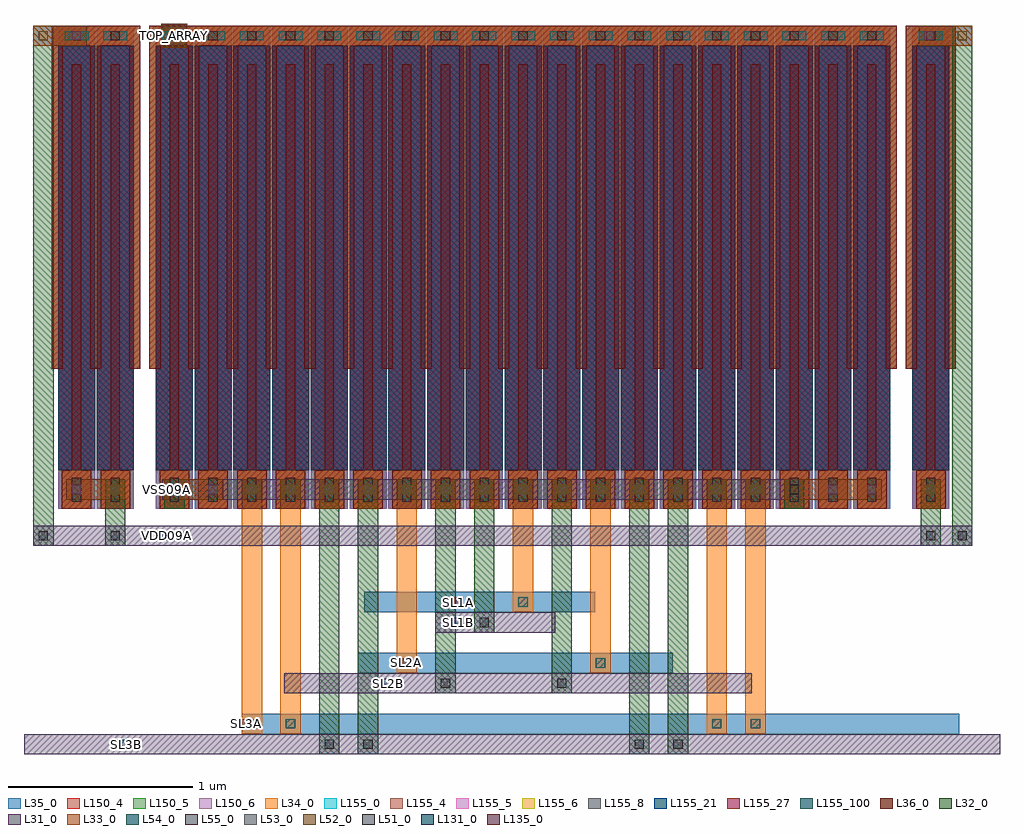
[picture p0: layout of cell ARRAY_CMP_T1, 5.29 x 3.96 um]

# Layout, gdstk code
from math import pi, radians
import gdstk
lib = gdstk.Library(unit=1e-6, precision=1e-09)
def R(c, l, rs):  # rectangles x0, y0, x1, y1
    for r in rs: c.add(gdstk.rectangle(r[:2], r[2:], *l))
def A(c, l, x, y, w, h, nx, ny, dx, dy):  # array of equal rectangles
    R(c, l, [(x+i*dx, y+j*dy, x+i*dx+w, y+j*dy+h) for i in range(nx) for j in range(ny)])
L31_0 = (31, 0)
L32_0 = (32, 0)
L33_0 = (33, 0)
L34_0 = (34, 0)
L35_0 = (35, 0)
L36_0 = (36, 0)
L51_0 = (51, 0)
L52_0 = (52, 0)
L53_0 = (53, 0)
L54_0 = (54, 0)
L55_0 = (55, 0)
L131_0 = (131, 0)
L135_0 = (135, 0)
L150_4 = (150, 4)
L150_5 = (150, 5)
L150_6 = (150, 6)
L155_0 = (155, 0)
L155_4 = (155, 4)
L155_5 = (155, 5)
L155_6 = (155, 6)
L155_8 = (155, 8)
L155_21 = (155, 21)
L155_27 = (155, 27)
L155_100 = (155, 100)

m5_m4_cdns_614674237067 = lib.new_cell('M5_M4_CDNS_614674237067')
R(m5_m4_cdns_614674237067, L34_0, [(-0.07,-0.105,0.07,0.105)])
R(m5_m4_cdns_614674237067, L35_0, [(-0.07,-0.105,0.07,0.105)])
R(m5_m4_cdns_614674237067, L54_0, [(-0.025,-0.065,0.025,0.065)])

m6_m5_cdns_614674237068 = lib.new_cell('M6_M5_CDNS_614674237068')
R(m6_m5_cdns_614674237068, L35_0, [(-0.07,-0.105,0.07,0.105)])
R(m6_m5_cdns_614674237068, L36_0, [(-0.055,-0.105,0.055,0.105)])
R(m6_m5_cdns_614674237068, L55_0, [(-0.025,-0.065,0.025,0.065)])

m5_m4_cdns_614674237069 = lib.new_cell('M5_M4_CDNS_614674237069')
R(m5_m4_cdns_614674237069, L34_0, [(-0.095,-0.055,0.095,0.055)])
R(m5_m4_cdns_614674237069, L35_0, [(-0.12,-0.055,0.12,0.055)])
R(m5_m4_cdns_614674237069, L54_0, [(-0.065,-0.025,0.065,0.025)])

m6_m5_cdns_6146742370610 = lib.new_cell('M6_M5_CDNS_6146742370610')
R(m6_m5_cdns_6146742370610, L35_0, [(-0.055,-0.055,0.055,0.055)])
R(m6_m5_cdns_6146742370610, L36_0, [(-0.055,-0.055,0.055,0.055)])
R(m6_m5_cdns_6146742370610, L55_0, [(-0.025,-0.025,0.025,0.025)])

cu1f = lib.new_cell('CU1F')
R(cu1f, L34_0, [(0.02,0,0.18,0.21), (-0.035,2.51,0.235,2.62)])
R(cu1f, L35_0, [(0.02,0,0.18,0.21), (-0.035,2.51,0.235,2.62)])
R(cu1f, L36_0, [(0.02,0,0.18,0.21), (-0.035,2.51,0.235,2.62)])
R(cu1f, L150_4, [(0,0,0.2,2.62)])
R(cu1f, L150_5, [(0,0,0.2,2.62)])
R(cu1f, L150_6, [(0,0,0.2,2.62)])
R(cu1f, L155_0, [(0,0.21,0.2,2.51)])
R(cu1f, L155_4, [(0,0.21,0.2,2.51)])
R(cu1f, L155_5, [(0,0.21,0.2,2.51)])
R(cu1f, L155_6, [(0,0.21,0.2,2.51)])
R(cu1f, L155_8, [(0,0.21,0.2,2.51)])
R(cu1f, L155_21, [(0,0.21,0.2,2.51)])
R(cu1f, L155_27, [(0,0.21,0.2,2.51)])
R(cu1f, L155_100, [(0,0.21,0.2,2.51)])
cu1f.add(gdstk.FlexPath([(0.205,2.59),(0.205,0.76)], 0.06, ends=(0.03, 0), simple_path=True, layer=34, datatype=0))  # L34_0
cu1f.add(gdstk.FlexPath([(0.1,2.41),(0.1,0)], 0.05, ends="flush", simple_path=True, layer=34, datatype=0))  # L34_0
cu1f.add(gdstk.FlexPath([(-0.005,2.59),(-0.005,0.76)], 0.06, ends=(0.03, 0), simple_path=True, layer=34, datatype=0))  # L34_0
cu1f.add(gdstk.FlexPath([(0.205,0.76),(0.205,2.59)], 0.06, ends=(0, 0.03), simple_path=True, layer=35, datatype=0))  # L35_0
cu1f.add(gdstk.FlexPath([(0.1,2.41),(0.1,0)], 0.05, ends="flush", simple_path=True, layer=35, datatype=0))  # L35_0
cu1f.add(gdstk.FlexPath([(-0.005,0.76),(-0.005,2.59)], 0.06, ends=(0, 0.03), simple_path=True, layer=35, datatype=0))  # L35_0
cu1f.add(gdstk.FlexPath([(0.205,0.76),(0.205,2.59)], 0.06, ends=(0, 0.03), simple_path=True, layer=36, datatype=0))  # L36_0
cu1f.add(gdstk.FlexPath([(0.1,2.41),(0.1,0)], 0.05, ends="flush", simple_path=True, layer=36, datatype=0))  # L36_0
cu1f.add(gdstk.FlexPath([(-0.005,0.76),(-0.005,2.59)], 0.06, ends=(0, 0.03), simple_path=True, layer=36, datatype=0))  # L36_0
cu1f.add(gdstk.Reference(m5_m4_cdns_614674237067, (0.1,0.105), rotation=pi, x_reflection=True))
cu1f.add(gdstk.Reference(m6_m5_cdns_614674237068, (0.1,0.105), rotation=pi, x_reflection=True))
cu1f.add(gdstk.Reference(m5_m4_cdns_614674237069, (0.1,2.565)))
cu1f.add(gdstk.Reference(m6_m5_cdns_6146742370610, (0.1,2.565)))

m2_m1_cdns_614674237060 = lib.new_cell('M2_M1_CDNS_614674237060')
R(m2_m1_cdns_614674237060, L31_0, [(-0.055,-0.055,0.055,0.055)])
R(m2_m1_cdns_614674237060, L32_0, [(-0.055,-0.055,0.055,0.055)])
R(m2_m1_cdns_614674237060, L51_0, [(-0.025,-0.025,0.025,0.025)])

m3_m2_cdns_614674237061 = lib.new_cell('M3_M2_CDNS_614674237061')
R(m3_m2_cdns_614674237061, L32_0, [(-0.055,-0.055,0.055,0.055)])
R(m3_m2_cdns_614674237061, L33_0, [(-0.055,-0.055,0.055,0.055)])
R(m3_m2_cdns_614674237061, L52_0, [(-0.025,-0.025,0.025,0.025)])

m4_m3_cdns_614674237062 = lib.new_cell('M4_M3_CDNS_614674237062')
R(m4_m3_cdns_614674237062, L33_0, [(-0.055,-0.055,0.055,0.055)])
R(m4_m3_cdns_614674237062, L34_0, [(-0.055,-0.055,0.055,0.055)])
R(m4_m3_cdns_614674237062, L53_0, [(-0.025,-0.025,0.025,0.025)])

m4_m3_cdns_614674237063 = lib.new_cell('M4_M3_CDNS_614674237063')
R(m4_m3_cdns_614674237063, L33_0, [(-0.07,-0.065,0.07,0.065)])
R(m4_m3_cdns_614674237063, L34_0, [(-0.055,-0.055,0.055,0.055)])
R(m4_m3_cdns_614674237063, L53_0, [(-0.025,-0.025,0.025,0.025)])

m3_m2_cdns_614674237064 = lib.new_cell('M3_M2_CDNS_614674237064')
R(m3_m2_cdns_614674237064, L32_0, [(-0.065,-0.06,0.065,0.06)])
R(m3_m2_cdns_614674237064, L33_0, [(-0.07,-0.065,0.07,0.065)])
R(m3_m2_cdns_614674237064, L52_0, [(-0.025,-0.025,0.025,0.025)])

m2_m1_cdns_614674237065 = lib.new_cell('M2_M1_CDNS_614674237065')
R(m2_m1_cdns_614674237065, L31_0, [(-0.055,-0.055,0.055,0.055)])
R(m2_m1_cdns_614674237065, L32_0, [(-0.065,-0.06,0.065,0.06)])
R(m2_m1_cdns_614674237065, L51_0, [(-0.025,-0.025,0.025,0.025)])

m5_m4_cdns_614674237066 = lib.new_cell('M5_M4_CDNS_614674237066')
R(m5_m4_cdns_614674237066, L34_0, [(-0.055,-0.055,0.055,0.055)])
R(m5_m4_cdns_614674237066, L35_0, [(-0.055,-0.055,0.055,0.055)])
R(m5_m4_cdns_614674237066, L54_0, [(-0.025,-0.025,0.025,0.025)])

array_cmp_t1 = lib.new_cell('ARRAY_CMP_T1')
R(array_cmp_t1, L31_0, [(-0.185,-1.33,5.105,-1.22), (1.225,-1,3.76,-0.89), (2.045,-0.67,2.695,-0.56), (-0.135,-0.2,4.955,-0.09), (0.565,0.05,4.045,0.16), (0.56,2.5,0.7,2.63)])
R(array_cmp_t1, L32_0, [(1.415,-1.33,1.525,0.16), (1.625,-1.33,1.735,0.16), (3.095,-1.33,3.205,0.16), (3.305,-1.33,3.415,0.16), (2.045,-1,2.155,0.16), (2.675,-1,2.785,0.16), (2.255,-0.67,2.365,0.16), (-0.135,-0.2,-0.025,2.62), (0.255,-0.2,0.365,0.16), (4.675,-0.2,4.785,0.16), (4.845,-0.2,4.955,2.62), (0.575,0,0.685,0.16), (3.935,0,4.045,0.16)])
A(array_cmp_t1, L33_0, 0.995, 0, 0.11, 0.16, 14, 1, 0.21, 0)
R(array_cmp_t1, L33_0, [(4.675,0,4.785,0.16), (0.045,0.05,0.365,0.16), (0.575,0.05,0.895,0.16), (3.935,0.05,4.465,0.16), (-0.135,2.51,0.155,2.62), (4.665,2.51,4.955,2.62)])
R(array_cmp_t1, L34_0, [(0.995,-1.22,1.105,0.16), (1.205,-1.22,1.315,0.16), (3.515,-1.22,3.625,0.16), (3.725,-1.22,3.835,0.16), (1.835,-0.89,1.945,0.16), (2.885,-0.89,2.995,0.16), (2.465,-0.56,2.575,0.16)])
R(array_cmp_t1, L35_0, [(0.995,-1.22,4.885,-1.11), (1.625,-0.89,3.33,-0.78), (1.66,-0.56,2.91,-0.45)])
R(array_cmp_t1, L131_0, [(0.345,-1.3,0.395,-1.25), (1.765,-0.97,1.815,-0.92), (2.145,-0.64,2.195,-0.59), (0.565,-0.17,0.615,-0.12), (0.565,0.08,0.615,0.13), (0.605,2.54,0.655,2.59)])
R(array_cmp_t1, L135_0, [(0.995,-1.19,1.045,-1.14), (1.865,-0.86,1.915,-0.81), (2.145,-0.53,2.195,-0.48)])
array_cmp_t1.add(gdstk.Reference(cu1f, (0,0)))
array_cmp_t1.add(gdstk.Reference(cu1f, (0.21,0)))
array_cmp_t1.add(gdstk.Reference(cu1f, (0.53,0)))
array_cmp_t1.add(gdstk.Reference(cu1f, (0.74,0)))
array_cmp_t1.add(gdstk.Reference(cu1f, (4.63,0)))
array_cmp_t1.add(gdstk.Reference(cu1f, (4.31,0)))
array_cmp_t1.add(gdstk.Reference(cu1f, (4.1,0)))
array_cmp_t1.add(gdstk.Reference(cu1f, (3.89,0)))
array_cmp_t1.add(gdstk.Reference(cu1f, (3.68,0)))
array_cmp_t1.add(gdstk.Reference(cu1f, (3.47,0)))
array_cmp_t1.add(gdstk.Reference(cu1f, (3.26,0)))
array_cmp_t1.add(gdstk.Reference(cu1f, (3.05,0)))
array_cmp_t1.add(gdstk.Reference(cu1f, (2.84,0)))
array_cmp_t1.add(gdstk.Reference(cu1f, (2.63,0)))
array_cmp_t1.add(gdstk.Reference(cu1f, (2.42,0)))
array_cmp_t1.add(gdstk.Reference(cu1f, (2.21,0)))
array_cmp_t1.add(gdstk.Reference(cu1f, (2,0)))
array_cmp_t1.add(gdstk.Reference(cu1f, (1.79,0)))
array_cmp_t1.add(gdstk.Reference(cu1f, (1.58,0)))
array_cmp_t1.add(gdstk.Reference(cu1f, (1.37,0)))
array_cmp_t1.add(gdstk.Reference(cu1f, (1.16,0)))
array_cmp_t1.add(gdstk.Reference(cu1f, (0.95,0)))
array_cmp_t1.add(gdstk.Reference(m2_m1_cdns_614674237060, (4.9,-0.145)))
array_cmp_t1.add(gdstk.Reference(m2_m1_cdns_614674237060, (-0.08,-0.145)))
array_cmp_t1.add(gdstk.Reference(m2_m1_cdns_614674237060, (3.99,0.105)))
array_cmp_t1.add(gdstk.Reference(m2_m1_cdns_614674237060, (4.73,-0.145)))
array_cmp_t1.add(gdstk.Reference(m2_m1_cdns_614674237060, (0.31,-0.145)))
array_cmp_t1.add(gdstk.Reference(m2_m1_cdns_614674237060, (2.31,-0.615)))
array_cmp_t1.add(gdstk.Reference(m2_m1_cdns_614674237060, (2.1,-0.945)))
array_cmp_t1.add(gdstk.Reference(m2_m1_cdns_614674237060, (2.73,-0.945)))
array_cmp_t1.add(gdstk.Reference(m2_m1_cdns_614674237060, (1.68,-1.275)))
array_cmp_t1.add(gdstk.Reference(m2_m1_cdns_614674237060, (1.47,-1.275)))
array_cmp_t1.add(gdstk.Reference(m2_m1_cdns_614674237060, (3.15,-1.275)))
array_cmp_t1.add(gdstk.Reference(m2_m1_cdns_614674237060, (3.36,-1.275)))
array_cmp_t1.add(gdstk.Reference(m2_m1_cdns_614674237060, (0.63,0.105)))
array_cmp_t1.add(gdstk.Reference(m3_m2_cdns_614674237061, (4.9,2.565)))
array_cmp_t1.add(gdstk.Reference(m3_m2_cdns_614674237061, (-0.08,2.565)))
array_cmp_t1.add(gdstk.Reference(m3_m2_cdns_614674237061, (1.05,0.105)))
array_cmp_t1.add(gdstk.Reference(m3_m2_cdns_614674237061, (1.26,0.105)))
array_cmp_t1.add(gdstk.Reference(m3_m2_cdns_614674237061, (1.47,0.105)))
array_cmp_t1.add(gdstk.Reference(m3_m2_cdns_614674237061, (1.68,0.105)))
array_cmp_t1.add(gdstk.Reference(m3_m2_cdns_614674237061, (1.89,0.105)))
array_cmp_t1.add(gdstk.Reference(m3_m2_cdns_614674237061, (2.1,0.105)))
array_cmp_t1.add(gdstk.Reference(m3_m2_cdns_614674237061, (2.31,0.105)))
array_cmp_t1.add(gdstk.Reference(m3_m2_cdns_614674237061, (2.52,0.105)))
array_cmp_t1.add(gdstk.Reference(m3_m2_cdns_614674237061, (2.73,0.105)))
array_cmp_t1.add(gdstk.Reference(m3_m2_cdns_614674237061, (2.94,0.105)))
array_cmp_t1.add(gdstk.Reference(m3_m2_cdns_614674237061, (3.15,0.105)))
array_cmp_t1.add(gdstk.Reference(m3_m2_cdns_614674237061, (3.36,0.105)))
array_cmp_t1.add(gdstk.Reference(m3_m2_cdns_614674237061, (3.57,0.105)))
array_cmp_t1.add(gdstk.Reference(m3_m2_cdns_614674237061, (3.78,0.105)))
array_cmp_t1.add(gdstk.Reference(m3_m2_cdns_614674237061, (4.73,0.105)))
array_cmp_t1.add(gdstk.Reference(m3_m2_cdns_614674237061, (3.99,0.105)))
array_cmp_t1.add(gdstk.Reference(m3_m2_cdns_614674237061, (0.63,0.105)))
array_cmp_t1.add(gdstk.Reference(m3_m2_cdns_614674237061, (0.31,0.105)))
array_cmp_t1.add(gdstk.Reference(m4_m3_cdns_614674237062, (4.72,2.565), rotation=pi, x_reflection=True))
array_cmp_t1.add(gdstk.Reference(m4_m3_cdns_614674237062, (0.1,2.565)))
array_cmp_t1.add(gdstk.Reference(m4_m3_cdns_614674237062, (1.05,0.105)))
array_cmp_t1.add(gdstk.Reference(m4_m3_cdns_614674237062, (1.26,0.105)))
array_cmp_t1.add(gdstk.Reference(m4_m3_cdns_614674237062, (1.47,0.105)))
array_cmp_t1.add(gdstk.Reference(m4_m3_cdns_614674237062, (1.68,0.105)))
array_cmp_t1.add(gdstk.Reference(m4_m3_cdns_614674237062, (1.89,0.105)))
array_cmp_t1.add(gdstk.Reference(m4_m3_cdns_614674237062, (2.1,0.105)))
array_cmp_t1.add(gdstk.Reference(m4_m3_cdns_614674237062, (2.31,0.105)))
array_cmp_t1.add(gdstk.Reference(m4_m3_cdns_614674237062, (2.52,0.105)))
array_cmp_t1.add(gdstk.Reference(m4_m3_cdns_614674237062, (2.73,0.105)))
array_cmp_t1.add(gdstk.Reference(m4_m3_cdns_614674237062, (2.94,0.105)))
array_cmp_t1.add(gdstk.Reference(m4_m3_cdns_614674237062, (3.15,0.105)))
array_cmp_t1.add(gdstk.Reference(m4_m3_cdns_614674237062, (3.36,0.105)))
array_cmp_t1.add(gdstk.Reference(m4_m3_cdns_614674237062, (3.57,0.105)))
array_cmp_t1.add(gdstk.Reference(m4_m3_cdns_614674237062, (3.78,0.105)))
array_cmp_t1.add(gdstk.Reference(m4_m3_cdns_614674237062, (4.73,0.105)))
array_cmp_t1.add(gdstk.Reference(m4_m3_cdns_614674237062, (4.2,0.105)))
array_cmp_t1.add(gdstk.Reference(m4_m3_cdns_614674237062, (4.41,0.105)))
array_cmp_t1.add(gdstk.Reference(m4_m3_cdns_614674237062, (3.99,0.105)))
array_cmp_t1.add(gdstk.Reference(m4_m3_cdns_614674237062, (0.84,0.105)))
array_cmp_t1.add(gdstk.Reference(m4_m3_cdns_614674237062, (0.63,0.105)))
array_cmp_t1.add(gdstk.Reference(m4_m3_cdns_614674237062, (0.1,0.105)))
array_cmp_t1.add(gdstk.Reference(m4_m3_cdns_614674237062, (0.31,0.105)))
array_cmp_t1.add(gdstk.Reference(m4_m3_cdns_614674237063, (0.63,2.565)))
array_cmp_t1.add(gdstk.Reference(m3_m2_cdns_614674237064, (0.63,2.565)))
array_cmp_t1.add(gdstk.Reference(m2_m1_cdns_614674237065, (0.63,2.565)))
array_cmp_t1.add(gdstk.Reference(m5_m4_cdns_614674237066, (1.89,-0.835)))
array_cmp_t1.add(gdstk.Reference(m5_m4_cdns_614674237066, (2.94,-0.835)))
array_cmp_t1.add(gdstk.Reference(m5_m4_cdns_614674237066, (2.52,-0.505)))
array_cmp_t1.add(gdstk.Reference(m5_m4_cdns_614674237066, (3.78,-1.165)))
array_cmp_t1.add(gdstk.Reference(m5_m4_cdns_614674237066, (1.26,-1.165)))
array_cmp_t1.add(gdstk.Reference(m5_m4_cdns_614674237066, (3.57,-1.165)))
array_cmp_t1.add(gdstk.Reference(m5_m4_cdns_614674237066, (1.05,-1.165)))
array_cmp_t1.add(gdstk.Label('SL3A', (1.02,-1.165), layer=135, texttype=0))
array_cmp_t1.add(gdstk.Label('SL1A', (2.17,-0.505), layer=135, texttype=0))
array_cmp_t1.add(gdstk.Label('SL2A', (1.89,-0.835), layer=135, texttype=0))
array_cmp_t1.add(gdstk.Label('VDD09A', (0.59,-0.145), layer=131, texttype=0))
array_cmp_t1.add(gdstk.Label('SL3B', (0.37,-1.275), layer=131, texttype=0))
array_cmp_t1.add(gdstk.Label('VSS09A', (0.59,0.105), layer=131, texttype=0))
array_cmp_t1.add(gdstk.Label('SL1B', (2.17,-0.615), layer=131, texttype=0))
array_cmp_t1.add(gdstk.Label('SL2B', (1.79,-0.945), layer=131, texttype=0))
array_cmp_t1.add(gdstk.Label('TOP_ARRAY', (0.628,2.565), layer=131, texttype=0))

lib.write_gds('ARRAY_CMP_T1.gds')
